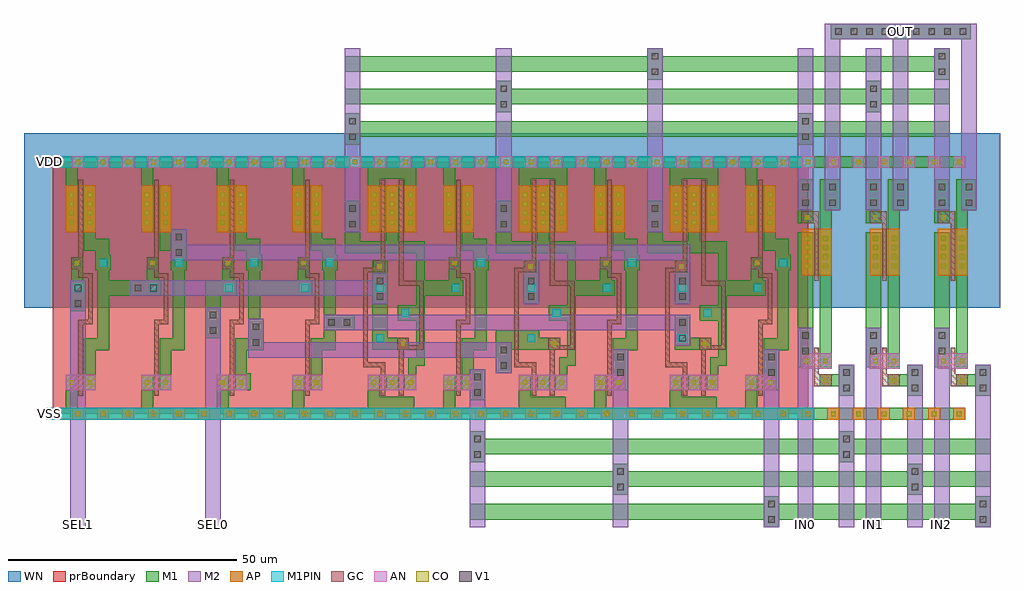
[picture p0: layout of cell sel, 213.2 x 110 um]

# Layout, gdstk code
import gdstk
lib = gdstk.Library(unit=1e-6, precision=1e-07)
def R(c, l, rs):  # rectangles x0, y0, x1, y1
    for r in rs: c.add(gdstk.rectangle(r[:2], r[2:], *l))
def A(c, l, x, y, w, h, nx, ny, dx, dy):  # array of equal rectangles
    R(c, l, [(x+i*dx, y+j*dy, x+i*dx+w, y+j*dy+h) for i in range(nx) for j in range(ny)])
def P(c, l, *ps):  # polygons
    for p in ps: c.add(gdstk.Polygon(p, *l))
AP = (3, 1)
AN = (3, 2)
GC = (8, 1)
CO = (11, 0)
M1 = (13, 0)
V1 = (19, 0)
M2 = (20, 0)
M1PIN = (48, 1)
WN = (140, 0)
prBoundary = (235, 0)

nand2 = lib.new_cell('NAND2')
A(nand2, AP, -1.3, -1.3, 2.6, 2.6, 4, 1, 5.5, 0)
R(nand2, AP, [(2.8,39.7,13.4,49.9), (2.8,39.7,13.4,49.9)])
A(nand2, AN, -1.3, 53.7, 2.6, 2.6, 4, 1, 5.5, 0)
R(nand2, AN, [(2.8,5.1,13.4,8.5)])
P(nand2, GC, [(5.6,3.9),(5.6,10.2),(1.8,10.2),(1.8,31.9),(4,31.9),(4,33.5),(5.6,33.5),(5.6,51.1),(6.6,51.1),(6.6,30.9),(2.8,30.9),(2.8,11.2),(6.6,11.2),(6.6,3.9)],
  [(9.6,3.9),(9.6,14),(9.2,14),(9.2,16.6),(11.8,16.6),(11.8,15),(14,15),(14,28),(9.6,28),(9.6,51.1),(10.6,51.1),(10.6,29),(15,29),(15,14),(10.6,14),(10.6,3.9)])
A(nand2, CO, -0.5, -0.5, 1, 1, 4, 2, 5.5, 55)
A(nand2, CO, 11.6, 41.3, 1, 1, 1, 4, 0, 2)
R(nand2, CO, [(3.6,6.3,4.6,7.3), (7.6,6.3,8.6,7.3), (7.6,6.3,8.6,7.3), (11.6,6.3,12.6,7.3), (10,14.8,11,15.8), (4.8,31.7,5.8,32.7), (3.6,41.3,4.6,42.3), (3.6,41.3,4.6,42.3), (3.6,41.3,4.6,42.3), (7.6,41.3,8.6,42.3), (7.6,41.3,8.6,42.3), (7.6,41.3,8.6,42.3), (7.6,41.3,8.6,42.3), (3.6,43.3,4.6,44.3), (3.6,43.3,4.6,44.3), (3.6,43.3,4.6,44.3), (7.6,43.3,8.6,44.3), (7.6,43.3,8.6,44.3), (7.6,43.3,8.6,44.3), (7.6,43.3,8.6,44.3), (3.6,45.3,4.6,46.3), (3.6,45.3,4.6,46.3), (3.6,45.3,4.6,46.3), (7.6,45.3,8.6,46.3), (7.6,45.3,8.6,46.3), (7.6,45.3,8.6,46.3), (7.6,45.3,8.6,46.3), (3.6,47.3,4.6,48.3), (3.6,47.3,4.6,48.3), (3.6,47.3,4.6,48.3), (7.6,47.3,8.6,48.3), (7.6,47.3,8.6,48.3), (7.6,47.3,8.6,48.3), (7.6,47.3,8.6,48.3)])
R(nand2, M1, [(6.8,5.1,9.4,8.5)])
P(nand2, M1, [(-1.3,-1.3),(-1.3,1.3),(2.8,1.3),(2.8,8.5),(5.4,8.5),(5.4,3.7),(13,3.7),(13,1.3),(17.8,1.3),(17.8,-1.3)],
  [(3.8,14),(3.8,18.2),(7.2,18.2),(7.2,16.6),(11.8,16.6),(11.8,14)],
  [(3.8,25.8),(3.8,29.2),(4,29.2),(4,33.5),(6.6,33.5),(6.6,29.2),(7.2,29.2),(7.2,25.8)],
  [(10.8,5.1),(10.8,8.5),(11.6,8.5),(11.6,12.3),(13.4,12.3),(13.4,20.3),(9.3,20.3),(9.3,23.7),(13.4,23.7),(13.4,35.1),(6.8,35.1),(6.8,49.9),(9.4,49.9),(9.4,37.7),(15.2,37.7),(15.2,10.5),(13.4,10.5),(13.4,5.1)],
  [(2.8,39.7),(2.8,53.7),(-1.3,53.7),(-1.3,56.3),(17.8,56.3),(17.8,53.7),(13.4,53.7),(13.4,39.7),(10.8,39.7),(10.8,51.3),(5.4,51.3),(5.4,39.7)])
R(nand2, M1PIN, [(-1.3,-1.3,17.8,1.3), (4.6,15.6,6.4,17.4), (10.1,21.1,11.9,22.9), (4.6,26.6,6.4,28.4), (-1.3,53.7,17.8,56.3)])
R(nand2, WN, [(-6.3,23.2,22.8,61.3)])
R(nand2, prBoundary, [(0,0,16.5,55)])
nand2.add(gdstk.Label('gnd', (0,0), layer=48, texttype=0))
nand2.add(gdstk.Label('Y', (11,22), layer=48, texttype=0))
nand2.add(gdstk.Label('B', (5.5,16.5), layer=48, texttype=0))
nand2.add(gdstk.Label('A', (5.5,27.5), layer=48, texttype=0))
nand2.add(gdstk.Label('vdd', (0,55), layer=48, texttype=0))

inv_x1 = lib.new_cell('INV_X1')
A(inv_x1, AP, -1.3, -1.3, 2.6, 2.6, 4, 1, 5.5, 0)
R(inv_x1, AP, [(2.8,39.7,9.4,49.9), (2.8,39.7,9.4,49.9)])
A(inv_x1, AN, -1.3, 53.7, 2.6, 2.6, 4, 1, 5.5, 0)
R(inv_x1, AN, [(2.8,5.1,9.4,8.5)])
P(inv_x1, GC, [(5.6,3.9),(5.6,20.5),(7.7,20.5),(7.7,29.7),(5.6,29.7),(5.6,31.6),(4,31.6),(4,34.2),(5.6,34.2),(5.6,51.1),(6.6,51.1),(6.6,30.7),(8.7,30.7),(8.7,19.5),(6.6,19.5),(6.6,3.9)])
A(inv_x1, CO, -0.5, -0.5, 1, 1, 4, 2, 5.5, 55)
A(inv_x1, CO, 3.6, 41.3, 1, 1, 1, 4, 0, 2)
A(inv_x1, CO, 7.6, 41.3, 1, 1, 1, 4, 0, 2)
R(inv_x1, CO, [(3.6,6.3,4.6,7.3), (7.6,6.3,8.6,7.3), (4.8,32.4,5.8,33.4)])
P(inv_x1, M1, [(-1.3,-1.3),(-1.3,1.3),(2.8,1.3),(2.8,8.5),(5.4,8.5),(5.4,1.3),(17.8,1.3),(17.8,-1.3)],
  [(3.8,25.8),(3.8,29.2),(4,29.2),(4,34.2),(6.6,34.2),(6.6,29.2),(7.2,29.2),(7.2,25.8)],
  [(6.8,5.1),(6.8,16.5),(9.7,16.5),(9.7,31.3),(9.3,31.3),(9.3,35.6),(6.8,35.6),(6.8,49.9),(9.4,49.9),(9.4,38.2),(12.3,38.2),(12.3,34.7),(12.7,34.7),(12.7,31.3),(12.3,31.3),(12.3,13.9),(9.4,13.9),(9.4,5.1)],
  [(2.8,39.7),(2.8,53.7),(-1.3,53.7),(-1.3,56.3),(17.8,56.3),(17.8,53.7),(5.4,53.7),(5.4,39.7)])
R(inv_x1, M1PIN, [(-1.3,-1.3,17.8,1.3), (4.6,26.6,6.4,28.4), (10.1,32.1,11.9,33.9), (-1.3,53.7,17.8,56.3)])
R(inv_x1, WN, [(-6.3,23.2,22.8,61.3)])
R(inv_x1, prBoundary, [(0,0,16.5,55)])
inv_x1.add(gdstk.Label('A', (5.5,27.5), layer=48, texttype=0))
inv_x1.add(gdstk.Label('vdd', (0,55), layer=48, texttype=0))
inv_x1.add(gdstk.Label('gnd', (0,0), layer=48, texttype=0))
inv_x1.add(gdstk.Label('Y', (11,33), layer=48, texttype=0))

fet_n = lib.new_cell('fet_n')
R(fet_n, AN, [(-3.3,-1.7,3.3,1.7)])
R(fet_n, CO, [(-2.5,-0.5,-1.5,0.5), (1.5,-0.5,2.5,0.5)])
R(fet_n, M1, [(-3.3,-1.3,-0.7,1.3), (0.7,-1.3,3.3,1.3)])
fet_n.add(gdstk.FlexPath([(0,-2.9),(0,2.9)], 1, ends="flush", simple_path=True, layer=8, datatype=1))  # GC

fet_p_1 = lib.new_cell('fet_p$1')
R(fet_p_1, AP, [(-3.3,-5.1,3.3,5.1)])
A(fet_p_1, CO, -2.5, -3.5, 1, 1, 1, 4, 0, 2)
A(fet_p_1, CO, 1.5, -3.5, 1, 1, 1, 4, 0, 2)
R(fet_p_1, M1, [(-3.3,-4.3,-0.7,4.3), (0.7,-4.3,3.3,4.3)])
fet_p_1.add(gdstk.FlexPath([(0,-6.3),(0,6.3)], 1, ends="flush", simple_path=True, layer=8, datatype=1))  # GC

cont_g = lib.new_cell('cont_g')
R(cont_g, GC, [(-1.3,-1.3,1.3,1.3)])
R(cont_g, CO, [(-0.5,-0.5,0.5,0.5)])
R(cont_g, M1, [(-1.3,-1.3,1.3,1.3)])

via_1 = lib.new_cell('via_1')
R(via_1, M1, [(-1.7,-1.7,1.7,1.7)])
R(via_1, V1, [(-0.7,-0.7,0.7,0.7)])
R(via_1, M2, [(-1.7,-1.7,1.7,1.7)])

cont_p = lib.new_cell('cont_p')
R(cont_p, AP, [(-1.3,-1.3,1.3,1.3)])
R(cont_p, CO, [(-0.5,-0.5,0.5,0.5)])
R(cont_p, M1, [(-1.3,-1.3,1.3,1.3)])

cont_n = lib.new_cell('cont_n')
R(cont_n, AN, [(-1.3,-1.3,1.3,1.3)])
R(cont_n, CO, [(-0.5,-0.5,0.5,0.5)])
R(cont_n, M1, [(-1.3,-1.3,1.3,1.3)])

sel = lib.new_cell('sel')
A(sel, GC, 167.6, 30.8, 1.2, 2.6, 3, 1, 14.9, 0)
A(sel, GC, 167.4, 66.4, 1.2, 2.6, 3, 1, 14.9, 0)
A(sel, M1, 92.4, 1.7, 113.8, 3.4, 1, 3, 0, 7.1)
A(sel, M1, 164, 35, 3.4, 29.4, 3, 1, 14.9, 0)
A(sel, M1, 168.8, 35, 2.6, 41, 3, 1, 14.9, 0)
A(sel, M1, 82.5, 50.6, 5.1, 3.4, 3, 1, 33, 0)
A(sel, M1, 164, 66.4, 3.4, 2.8, 3, 1, 14.9, 0)
A(sel, M1, 65.1, 85.3, 132.1, 3.4, 1, 3, 0, 7.1)
R(sel, M1, [(167.6,23.5,198,26.1), (41.1,29.9,44.5,33.6), (123.6,29.9,127,32.1), (156.6,29.9,160,32.1), (171.4,30.8,176.4,33.4), (186.3,30.8,191.3,33.4), (186.3,30.8,191.3,33.4), (201.2,30.8,206.2,33.4), (98.1,38.8,104.1,43), (71.1,43,74.5,58.3), (13.6,50.6,21.6,54), (46.6,50.6,54.6,54), (104.1,54,107.5,58.3), (137.1,54,140.5,58.3), (167.6,78.5,198,81.1)])
P(sel, M1, [(34.6,41.3),(34.6,54),(38.1,54),(38.1,50.6),(38,50.6),(38,41.3)],
  [(65.1,59.9),(65.1,71.3),(68.5,71.3),(68.5,62.5),(74.1,62.5),(74.1,59.9)],
  [(98.1,59.9),(98.1,71.3),(101.5,71.3),(101.5,62.5),(107.1,62.5),(107.1,59.9)],
  [(131.1,59.9),(131.1,71.3),(134.5,71.3),(134.5,62.5),(140.1,62.5),(140.1,59.9)])
A(sel, M2, 164, 0, 3.4, 43.6, 3, 1, 14.9, 0)
A(sel, M2, 173, 0, 3.4, 33.4, 3, 1, 14.9, 0)
A(sel, M2, 65.1, 64.5, 3.4, 40.1, 3, 1, 33, 0)
A(sel, M2, 164, 69.2, 3.4, 35.4, 3, 1, 14.9, 0)
A(sel, M2, 169.9, 69.2, 3.4, 40.8, 3, 1, 14.9, 0)
R(sel, M2, [(5.1,0,8.5,47.2), (34.6,0,38,48.1), (92.4,0,95.8,34.5), (123.6,0,127,32.1), (156.6,0,160,32.1), (187.9,8.8,191.3,33.4), (44,37,101.5,40.4), (60.5,43,140.5,46.4), (25,50.6,74.5,54)])
P(sel, M2, [(104.1,48.7),(104.1,58.3),(30.5,58.3),(30.5,61.7),(140.5,61.7),(140.5,48.7),(137.1,48.7),(137.1,58.3),(107.5,58.3),(107.5,48.7)])
R(sel, WN, [(172.6,48,208.2,86.1)])
sel.add(gdstk.Reference(nand2, (67.3,24.8)))
sel.add(gdstk.Reference(inv_x1, (50.8,24.8)))
sel.add(gdstk.Reference(inv_x1, (34.3,24.8)))
sel.add(gdstk.Reference(inv_x1, (17.8,24.8)))
sel.add(gdstk.Reference(inv_x1, (1.3,24.8)))
sel.add(gdstk.Reference(inv_x1, (83.8,24.8)))
sel.add(gdstk.Reference(nand2, (100.3,24.8)))
sel.add(gdstk.Reference(inv_x1, (116.8,24.8)))
sel.add(gdstk.Reference(nand2, (133.3,24.8)))
sel.add(gdstk.Reference(inv_x1, (149.8,24.8)))
sel.add(gdstk.Reference(fet_n, (168.1,36.3)))
sel.add(gdstk.Reference(fet_p_1, (168.1,60.1)))
sel.add(gdstk.Reference(cont_g, (170.1,32.1)))
sel.add(gdstk.Reference(cont_g, (166.1,67.7)))
r = gdstk.Reference(via_1, (165.7,38.5)); r.repetition = gdstk.Repetition(1, 2, v1=(0,0), v2=(0,3.4)); sel.add(r)
r = gdstk.Reference(via_1, (165.7,70.9)); r.repetition = gdstk.Repetition(1, 2, v1=(0,0), v2=(0,3.4)); sel.add(r)
r = gdstk.Reference(via_1, (171.6,70.9)); r.repetition = gdstk.Repetition(1, 2, v1=(0,0), v2=(0,3.4)); sel.add(r)
sel.add(gdstk.Reference(fet_n, (183,36.3)))
sel.add(gdstk.Reference(fet_p_1, (183,60.1)))
sel.add(gdstk.Reference(cont_g, (185,32.1)))
sel.add(gdstk.Reference(cont_g, (181,67.7)))
r = gdstk.Reference(via_1, (180.6,38.5)); r.repetition = gdstk.Repetition(1, 2, v1=(0,0), v2=(0,3.4)); sel.add(r)
r = gdstk.Reference(via_1, (189.6,30.4)); r.repetition = gdstk.Repetition(1, 2, v1=(0,0), v2=(0,3.4)); sel.add(r)
r = gdstk.Reference(via_1, (180.6,70.9)); r.repetition = gdstk.Repetition(1, 2, v1=(0,0), v2=(0,3.4)); sel.add(r)
r = gdstk.Reference(via_1, (186.5,70.9)); r.repetition = gdstk.Repetition(1, 2, v1=(0,0), v2=(0,3.4)); sel.add(r)
sel.add(gdstk.Reference(fet_n, (197.9,36.3)))
sel.add(gdstk.Reference(fet_p_1, (197.9,60.1)))
sel.add(gdstk.Reference(cont_g, (199.9,32.1)))
sel.add(gdstk.Reference(cont_g, (195.9,67.7)))
r = gdstk.Reference(via_1, (195.5,38.5)); r.repetition = gdstk.Repetition(1, 2, v1=(0,0), v2=(0,3.4)); sel.add(r)
r = gdstk.Reference(via_1, (195.5,70.9)); r.repetition = gdstk.Repetition(1, 2, v1=(0,0), v2=(0,3.4)); sel.add(r)
r = gdstk.Reference(cont_p, (171.8,24.8)); r.repetition = gdstk.Repetition(6, 1, v1=(5.5,0), v2=(0,0)); sel.add(r)
r = gdstk.Reference(cont_n, (171.8,79.8)); r.repetition = gdstk.Repetition(6, 1, v1=(5.5,0), v2=(0,0)); sel.add(r)
r = gdstk.Reference(via_1, (6.8,48.9)); r.repetition = gdstk.Repetition(1, 2, v1=(0,0), v2=(0,3.4)); sel.add(r)
r = gdstk.Reference(via_1, (36.3,43)); r.repetition = gdstk.Repetition(1, 2, v1=(0,0), v2=(0,3.4)); sel.add(r)
r = gdstk.Reference(via_1, (72.8,50.4)); r.repetition = gdstk.Repetition(1, 2, v1=(0,0), v2=(0,3.4)); sel.add(r)
r = gdstk.Reference(via_1, (19.9,52.3)); r.repetition = gdstk.Repetition(2, 1, v1=(3.4,0), v2=(0,0)); sel.add(r)
r = gdstk.Reference(via_1, (105.8,50.4)); r.repetition = gdstk.Repetition(1, 2, v1=(0,0), v2=(0,3.4)); sel.add(r)
r = gdstk.Reference(via_1, (99.8,35.3)); r.repetition = gdstk.Repetition(1, 2, v1=(0,0), v2=(0,3.4)); sel.add(r)
r = gdstk.Reference(via_1, (138.8,50.4)); r.repetition = gdstk.Repetition(1, 2, v1=(0,0), v2=(0,3.4)); sel.add(r)
r = gdstk.Reference(via_1, (138.8,41.3)); r.repetition = gdstk.Repetition(1, 2, v1=(0,0), v2=(0,3.4)); sel.add(r)
r = gdstk.Reference(via_1, (28.8,60)); r.repetition = gdstk.Repetition(1, 2, v1=(0,0), v2=(0,3.4)); sel.add(r)
r = gdstk.Reference(via_1, (45.7,40.4)); r.repetition = gdstk.Repetition(1, 2, v1=(0,0), v2=(0,3.4)); sel.add(r)
r = gdstk.Reference(via_1, (62.2,44.7)); r.repetition = gdstk.Repetition(2, 1, v1=(3.4,0), v2=(0,0)); sel.add(r)
r = gdstk.Reference(via_1, (158.3,33.8)); r.repetition = gdstk.Repetition(1, 2, v1=(0,0), v2=(0,3.4)); sel.add(r)
r = gdstk.Reference(via_1, (94.1,15.9)); r.repetition = gdstk.Repetition(1, 2, v1=(0,0), v2=(0,3.4)); sel.add(r)
r = gdstk.Reference(via_1, (189.6,8.8)); r.repetition = gdstk.Repetition(1, 2, v1=(0,0), v2=(0,3.4)); sel.add(r)
r = gdstk.Reference(via_1, (158.3,1.7)); r.repetition = gdstk.Repetition(1, 2, v1=(0,0), v2=(0,3.4)); sel.add(r)
r = gdstk.Reference(via_1, (204.5,1.7)); r.repetition = gdstk.Repetition(1, 2, v1=(0,0), v2=(0,3.4)); sel.add(r)
r = gdstk.Reference(via_1, (125.3,8.8)); r.repetition = gdstk.Repetition(1, 2, v1=(0,0), v2=(0,3.4)); sel.add(r)
r = gdstk.Reference(via_1, (174.7,15.9)); r.repetition = gdstk.Repetition(1, 2, v1=(0,0), v2=(0,3.4)); sel.add(r)
r = gdstk.Reference(via_1, (125.3,33.8)); r.repetition = gdstk.Repetition(1, 2, v1=(0,0), v2=(0,3.4)); sel.add(r)
r = gdstk.Reference(via_1, (94.1,29.4)); r.repetition = gdstk.Repetition(1, 2, v1=(0,0), v2=(0,3.4)); sel.add(r)
r = gdstk.Reference(via_1, (165.7,85.3)); r.repetition = gdstk.Repetition(1, 2, v1=(0,0), v2=(0,3.4)); sel.add(r)
r = gdstk.Reference(via_1, (180.6,92.4)); r.repetition = gdstk.Repetition(1, 2, v1=(0,0), v2=(0,3.4)); sel.add(r)
r = gdstk.Reference(via_1, (195.5,99.5)); r.repetition = gdstk.Repetition(1, 2, v1=(0,0), v2=(0,3.4)); sel.add(r)
r = gdstk.Reference(via_1, (66.8,66.2)); r.repetition = gdstk.Repetition(1, 2, v1=(0,0), v2=(0,3.4)); sel.add(r)
r = gdstk.Reference(via_1, (66.8,85.3)); r.repetition = gdstk.Repetition(1, 2, v1=(0,0), v2=(0,3.4)); sel.add(r)
r = gdstk.Reference(via_1, (99.8,92.4)); r.repetition = gdstk.Repetition(1, 2, v1=(0,0), v2=(0,3.4)); sel.add(r)
r = gdstk.Reference(via_1, (132.8,99.5)); r.repetition = gdstk.Repetition(1, 2, v1=(0,0), v2=(0,3.4)); sel.add(r)
r = gdstk.Reference(via_1, (99.8,66.2)); r.repetition = gdstk.Repetition(1, 2, v1=(0,0), v2=(0,3.4)); sel.add(r)
r = gdstk.Reference(via_1, (132.8,66.2)); r.repetition = gdstk.Repetition(1, 2, v1=(0,0), v2=(0,3.4)); sel.add(r)
r = gdstk.Reference(via_1, (172.9,108.3)); r.repetition = gdstk.Repetition(9, 1, v1=(3.4,0), v2=(0,0)); sel.add(r)
r = gdstk.Reference(via_1, (204.5,30.4)); r.repetition = gdstk.Repetition(1, 2, v1=(0,0), v2=(0,3.4)); sel.add(r)
r = gdstk.Reference(via_1, (189.6,30.4)); r.repetition = gdstk.Repetition(1, 2, v1=(0,0), v2=(0,3.4)); sel.add(r)
r = gdstk.Reference(via_1, (174.7,30.4)); r.repetition = gdstk.Repetition(1, 2, v1=(0,0), v2=(0,3.4)); sel.add(r)
r = gdstk.Reference(via_1, (201.4,70.9)); r.repetition = gdstk.Repetition(1, 2, v1=(0,0), v2=(0,3.4)); sel.add(r)
sel.add(gdstk.Label('VSS', (0.5,24.8), layer=48, texttype=0))
sel.add(gdstk.Label('VDD', (0.5,79.8), layer=48, texttype=0))
sel.add(gdstk.Label('SEL1', (6.8,0.5), layer=49, texttype=0))
sel.add(gdstk.Label('SEL0', (36.3,0.5), layer=49, texttype=0))
sel.add(gdstk.Label('IN1', (180.6,0.5), layer=49, texttype=0))
sel.add(gdstk.Label('IN2', (195.5,0.5), layer=49, texttype=0))
sel.add(gdstk.Label('OUT', (186.5,108.3), layer=49, texttype=0))
sel.add(gdstk.Label('IN0', (165.7,0.5), layer=49, texttype=0))

lib.write_gds('sel.gds')
